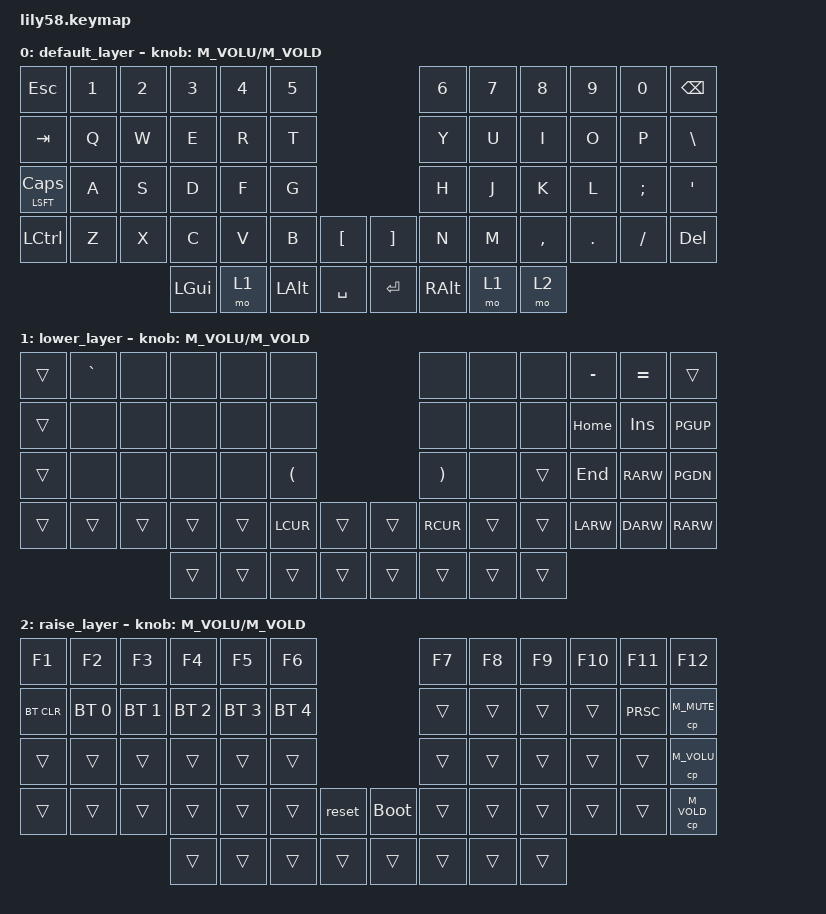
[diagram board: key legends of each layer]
/*
 * Copyright (c) 2020 The ZMK Contributors
 *
 * SPDX-License-Identifier: MIT
 */

#include <behaviors.dtsi>
#include <dt-bindings/zmk/keys.h>
#include <dt-bindings/zmk/bt.h>
#include <dt-bindings/zmk/ext_power.h>

/ {
	keymap {
		compatible = "zmk,keymap";

		default_layer {
// ,-----------------------------------------.                  ,-----------------------------------------.
// | ESC  |   1  |   2  |   3  |   4  |   5  |                  |  6   |  7   |  8   |  9   |  0   | BSPC |
// |------+------+------+------+------+------|                  |------+------+------+------+------+------|
// | TAB  |   Q  |   W  |   E  |   R  |   T  |                  |  Y   |  U   |  I   |  O   |  P   |  \   |
// |------+------+------+------+------+------|                  |------+------+------+------+------+------|
// | LSCL |   A  |   S  |   D  |   F  |   G  |------.    ,------|  H   |  J   |  K   |  L   |  ;   |  '   |
// |------+------+------+------+------+------|   [  |    |   ]  |------+------+------+------+------+------|
// | LCTL |   Z  |   X  |   C  |   V  |   B  |------|    |------|  N   |  M   |  ,   |  .   |  /   | DEL  |
// `----------------------------------------/      /     \       \----------------------------------------´
//                  | LGUI |  TT1 | LALT | /  SPC /       \  ENT  \ | RALT | MO1  | MO2  |
//                  `--------------------''------´         `-------''--------------------´
			bindings = <
&kp ESC       &kp NUM_1  &kp NUM_2  &kp NUM_3  &kp NUM_4  &kp NUM_5                        &kp NUM_6  &kp NUM_7  &kp NUM_8  &kp NUM_9  &kp NUM_0  &kp BKSP
&kp TAB           &kp Q      &kp W      &kp E      &kp R      &kp T                            &kp Y      &kp U      &kp I      &kp O      &kp P  &kp BSLH
&mt LSFT CLCK     &kp A      &kp S      &kp D      &kp F      &kp G                            &kp H      &kp J      &kp K      &kp L   &kp SCLN  &kp QUOT
&kp LCTL          &kp Z      &kp X      &kp C      &kp V      &kp B     &kp LBKT  &kp RBKT     &kp N      &kp M   &kp CMMA    &kp DOT   &kp FSLH   &kp DEL
                                     &kp LGUI      &mo 1      &kp LALT  &kp SPC   &kp RET   &kp RALT      &mo 1      &mo 2
			>;

			sensor-bindings = <&inc_dec_cp M_VOLU M_VOLD>;
		};

		lower_layer {
// ,-----------------------------------------.                  ,-----------------------------------------.
// | TRNS |   `  |      |      |      |      |                  |      |      |      |  -   |  =   | TRNS |
// |------+------+------+------+------+------|                  |------+------+------+------+------+------|
// | TRNS |      |      |      |      |  <   |                  |  >   |      |      | HOME | INS  | PGUP |
// |------+------+------+------+------+------|                  |------+------+------+------+------+------|
// | TRNS |      |      |      |      |  (   |------.    ,------|  )   |      | TRNS | END  |  UP  | PGDN |
// |------+------+------+------+------+------|   [  |    |  ]   |------+------+------+------+------+------|
// | TRNS | TRNS | TRNS | TRNS | TRNS |  {   |------|    |------|  }   |      |      | LEFT | DOWN | RGHT |
// `----------------------------------------/      /      \      \----------------------------------------´
//                  | TRNS | TRNS | TRNS | / TRNS /        \ TRNS \ | TRNS | TRNS | TRNS |
//                  `--------------------''------´          `------''--------------------´
			bindings = <
&trans &kp GRAV    &none    &none    &none     &none                        &none    &none    &none  &kp MINUS   &kp EQL    &trans
&trans    &none    &none    &none    &none     &none                        &none    &none    &none   &kp HOME   &kp INS  &kp PGUP
&trans    &none    &none    &none    &none  &kp LPRN                     &kp RPRN    &none   &trans    &kp END  &kp RARW  &kp PGDN
&trans   &trans   &trans   &trans   &trans  &kp LCUR  &trans     &trans  &kp RCUR   &trans   &trans   &kp LARW  &kp DARW  &kp RARW
                           &trans   &trans    &trans  &trans     &trans    &trans   &trans   &trans
			>;

			sensor-bindings = <&inc_dec_cp M_VOLU M_VOLD>;
		};

		raise_layer {
// ,-----------------------------------------.                  ,-----------------------------------------.
// |  F1  |  F2  |  F3  |  F4  |  F5  |  F6  |                  |  F7  |  F8  |  F9  | F10  | F11  | F12  |
// |------+------+------+------+------+------|                  |------+------+------+------+------+------|
// | BT_C   BT_1 | BT_2 | BT_3 | BT_4 | BT_5 |                  |      |      |      |      | PSCR | MUTE |
// |------+------+------+------+------+------|                  |------+------+------+------+------+------|
// |      |      |      |      |      |      |------.    ,------|      |      |      |      | BTN5 | VOLU |
// |------+------+------+------+------+------| REST |    | BLDR |------+------+------+------+------+------|
// |      |      |      |      |      |      |------|    |------|      |      |      |      | BTN4 | VOLD |
// `----------------------------------------/      /      \      \----------------------------------------´
//                  | TRNS | TRNS | TRNS | / TRNS /        \ TRNS \ | TRNS | TRNS | TRNS |
//                  `--------------------''------´          `------''--------------------´
			bindings = <
&kp F1     &kp F2       &kp F3       &kp F4       &kp F5       &kp F6                           &kp F7   &kp F8    &kp F9    &kp F10   &kp F11     &kp F12
&bt BT_CLR &bt BT_SEL 0 &bt BT_SEL 1 &bt BT_SEL 2 &bt BT_SEL 3 &bt BT_SEL 4                     &trans   &trans    &trans     &trans  &kp PRSC  &cp M_MUTE
&trans     &trans       &trans       &trans       &trans       &trans                           &trans   &trans    &trans     &trans    &trans  &cp M_VOLU
&trans     &trans       &trans       &trans       &trans       &trans       &reset &bootloader  &trans   &trans    &trans     &trans    &trans  &cp M_VOLD
                        &trans       &trans       &trans       &trans       &trans      &trans  &trans   &trans
			>;

			sensor-bindings = <&inc_dec_cp M_VOLU M_VOLD>;
		};
	};
};
